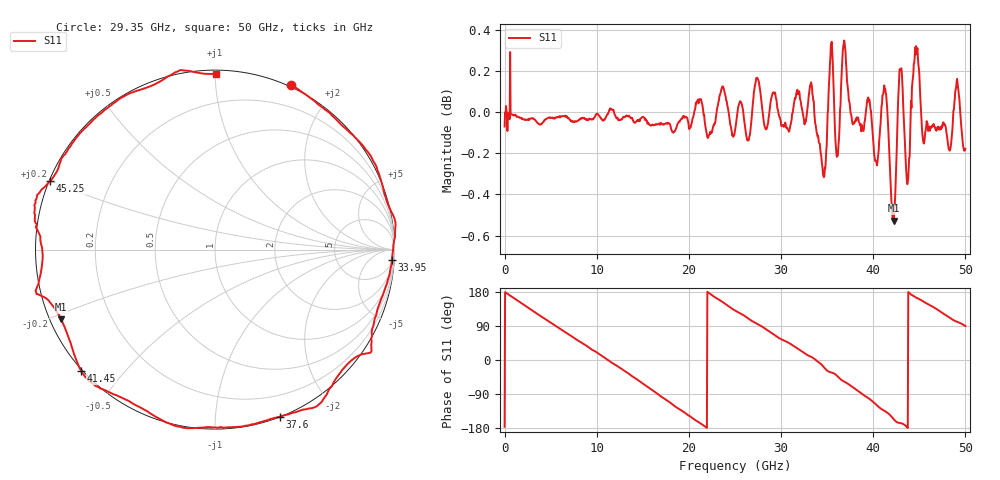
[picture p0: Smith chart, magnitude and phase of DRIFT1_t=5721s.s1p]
!Created with skrf (http://scikit-rf.org).
# Hz S RI R 50.0
!freq ReS11 ImS11
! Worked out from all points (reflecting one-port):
!   1001 points, 300 kHz to 50 GHz, reference 50 ohm
!   lowest |S11| = -0.5 dB at 42.2 GHz (marker M1), VSWR 32.93, Z = 1.59 - j10.8 ohm
!   phase of S11 starts at -176 deg and turns -814 deg over the sweep
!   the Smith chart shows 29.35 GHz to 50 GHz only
!   S11 on the Smith chart (normalised r, x): 29.35 GHz: -0.02, +1.56; 33.95 GHz: 7, -31; 37.6 GHz: 0.00, -1.46; 41.45 GHz: -0.00, -0.39; 45.25 GHz: 0.00, +0.20; 50 GHz: 0.02, +1.01
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300000  -0.9898 -0.0651
1.550291e9  -0.8992 0.431
3.30028e9  -0.5815 0.8083
4.800271e9  -0.2005 0.9766
6.250262e9  0.1999 0.9775
9.500243e9  0.889 0.449
1.115023e10  0.9986 0.0221
1.250022e10  0.9335 -0.3467
1.580021e10  0.2444 -0.962
1.73502e10  -0.2067 -0.9715
1.875019e10  -0.5933 -0.7966
2.155017e10  -0.9908 -0.1379
2.350016e10  -0.9215 0.4196
2.500015e10  -0.6429 0.7528
2.730014e10  -0.1225 1.012
2.935012e10  0.4225 0.9184
3.125011e10  0.779 0.626
3.39501e10  0.9847 -0.06
3.520009e10  0.8717 -0.5221
3.750008e10  0.3926 -0.9213
3.760007e10  0.3626 -0.9306
3.950006e10  -0.1935 -0.9871
4.145005e10  -0.7449 -0.677
4.220005e10  -0.8571 -0.3885
4.375004e10  -0.9621 -0.00899
4.525003e10  -0.9181 0.3825
4.770001e10  -0.5096 0.8522
5e10  0.00644 0.9797
